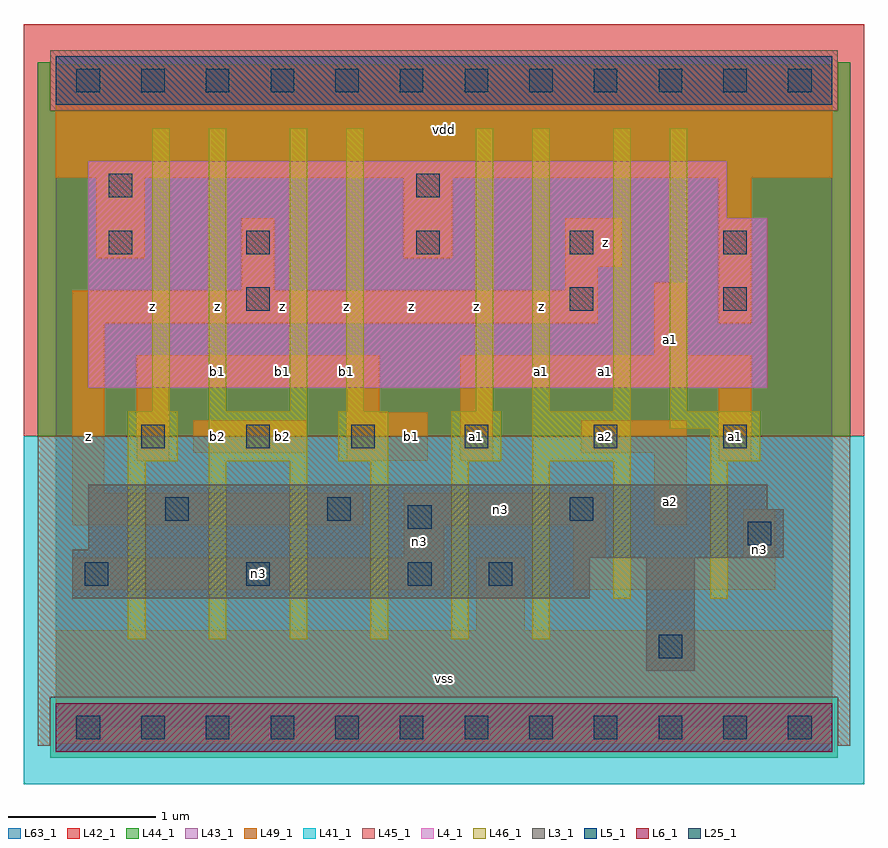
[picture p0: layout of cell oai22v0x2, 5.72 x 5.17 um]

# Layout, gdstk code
import gdstk
lib = gdstk.Library(unit=1e-6, precision=1e-09)
def R(c, l, rs):  # rectangles x0, y0, x1, y1
    for r in rs: c.add(gdstk.rectangle(r[:2], r[2:], *l))
def A(c, l, x, y, w, h, nx, ny, dx, dy):  # array of equal rectangles
    R(c, l, [(x+i*dx, y+j*dy, x+i*dx+w, y+j*dy+h) for i in range(nx) for j in range(ny)])
L3_1 = (3, 1)
L4_1 = (4, 1)
L5_1 = (5, 1)
L6_1 = (6, 1)
L25_1 = (25, 1)
L41_1 = (41, 1)
L42_1 = (42, 1)
L43_1 = (43, 1)
L44_1 = (44, 1)
L45_1 = (45, 1)
L46_1 = (46, 1)
L49_1 = (49, 1)
L63_1 = (63, 1)

oai22v0x2 = lib.new_cell('oai22v0x2')
R(oai22v0x2, L3_1, [(4.015,0.385,4.345,1.155), (0.11,0.88,3.63,1.155), (0.11,1.155,4.95,1.21), (0.22,1.21,4.95,1.485), (0.22,1.485,4.84,1.65)])
R(oai22v0x2, L4_1, [(0.22,2.31,4.84,3.465), (0.22,3.465,4.565,3.85)])
R(oai22v0x2, L5_1, [(0,4.235,5.28,4.565)])
R(oai22v0x2, L6_1, [(0,-0.165,5.28,0.165)])
A(oai22v0x2, L25_1, 0.14, -0.08, 0.16, 0.16, 12, 2, 0.44, 4.4)
A(oai22v0x2, L25_1, 0.195, 0.965, 0.16, 0.16, 3, 1, 1.1, 0)
A(oai22v0x2, L25_1, 0.58, 1.9, 0.16, 0.16, 3, 1, 0.715, 0)
A(oai22v0x2, L25_1, 2.78, 1.9, 0.16, 0.16, 3, 1, 0.88, 0)
A(oai22v0x2, L25_1, 2.45, 3.22, 0.16, 0.16, 3, 1, 1.045, 0)
R(oai22v0x2, L25_1, [(4.1,0.47,4.26,0.63), (2.945,0.965,3.105,1.125), (4.705,1.24,4.865,1.4), (2.395,1.35,2.555,1.51), (0.745,1.405,0.905,1.565), (1.845,1.405,2.005,1.565), (3.495,1.405,3.655,1.565), (1.295,2.835,1.455,2.995), (3.495,2.835,3.655,2.995), (4.54,2.835,4.7,2.995), (0.36,3.22,0.52,3.38), (1.295,3.22,1.455,3.38), (0.36,3.605,0.52,3.765), (2.45,3.605,2.61,3.765)])
R(oai22v0x2, L41_1, [(-0.22,-0.385,5.5,1.98)])
R(oai22v0x2, L42_1, [(-0.22,1.98,5.5,4.785)])
R(oai22v0x2, L43_1, [(0,-0.165,5.28,0.165), (4.015,0.385,4.345,1.155), (0.11,0.88,3.63,1.155), (0.11,1.155,4.95,1.21), (0.22,1.21,4.95,1.485), (0.22,1.485,4.84,1.65), (0.22,2.31,4.84,3.465), (0.22,3.465,4.565,3.85), (0,4.235,5.28,4.565)])
R(oai22v0x2, L44_1, [(-0.04,-0.205,5.32,0.205), (-0.125,1.98,5.405,4.195), (-0.125,4.195,-0.04,4.525), (5.32,4.195,5.405,4.525)])
R(oai22v0x2, L45_1, [(-0.125,-0.125,-0.04,0.205), (5.32,-0.125,5.405,0.205), (-0.125,0.205,5.405,1.98), (-0.04,4.195,5.32,4.605)])
A(oai22v0x2, L46_1, 0.49, 0.6, 0.12, 1.21, 6, 1, 0.55, 0)
R(oai22v0x2, L46_1, [(3.79,0.875,3.91,1.81), (4.45,0.875,4.57,1.81), (0.49,1.81,0.83,2.15), (1.04,1.81,1.71,2.15), (1.92,1.81,2.26,2.15), (2.69,1.81,3.03,2.15), (3.24,1.81,3.91,2.15), (4.45,1.81,4.79,2.03), (4.175,2.03,4.79,2.15), (0.655,2.15,0.775,4.075), (1.04,2.15,1.16,4.075), (1.59,2.15,1.71,4.075), (1.975,2.15,2.095,4.075), (2.855,2.15,2.975,4.075), (3.24,2.15,3.36,4.075), (3.79,2.15,3.91,4.075), (4.175,2.15,4.295,4.075)])
R(oai22v0x2, L49_1, [(0,-0.11,5.28,0.66), (2.86,0.66,3.19,1.155), (0.11,0.935,2.64,1.155), (3.52,0.935,4.895,1.155), (2.365,1.155,2.64,1.375), (3.52,1.155,3.74,1.375), (4.675,1.155,4.895,1.485), (0.11,1.375,2.09,1.595), (2.365,1.375,3.74,1.595), (4.07,1.375,4.29,1.87), (0.11,1.595,0.33,2.75), (0.55,1.815,0.77,2.31), (1.98,1.815,2.53,2.145), (2.75,1.815,2.97,2.31), (4.51,1.815,4.73,2.31), (0.935,1.87,1.705,2.09), (3.575,1.87,4.29,2.09), (1.98,2.145,2.2,2.31), (0.55,2.31,2.2,2.53), (2.75,2.31,4.73,2.53), (4.07,2.53,4.29,3.025), (0.11,2.75,3.685,2.97), (4.51,2.75,4.73,3.74), (1.265,2.97,1.485,3.465), (3.465,2.97,3.685,3.135), (3.465,3.135,3.85,3.465), (0.275,3.19,0.605,3.74), (2.365,3.19,2.695,3.74), (0,3.74,5.28,4.51)])
R(oai22v0x2, L63_1, [(0,0,5.28,4.4)])
oai22v0x2.add(gdstk.Label('z', (0.22,1.98), layer=49, texttype=1))
oai22v0x2.add(gdstk.Label('z', (0.66,2.86), layer=49, texttype=1))
oai22v0x2.add(gdstk.Label('b2', (1.1,1.98), layer=49, texttype=1))
oai22v0x2.add(gdstk.Label('b1', (1.1,2.42), layer=49, texttype=1))
oai22v0x2.add(gdstk.Label('b2', (1.54,1.98), layer=49, texttype=1))
oai22v0x2.add(gdstk.Label('b1', (1.54,2.42), layer=49, texttype=1))
oai22v0x2.add(gdstk.Label('z', (1.54,2.86), layer=49, texttype=1))
oai22v0x2.add(gdstk.Label('z', (1.1,2.86), layer=49, texttype=1))
oai22v0x2.add(gdstk.Label('vss', (2.64,0.33), layer=49, texttype=1))
oai22v0x2.add(gdstk.Label('n3', (1.375,1.045), layer=49, texttype=1))
oai22v0x2.add(gdstk.Label('n3', (2.475,1.265), layer=49, texttype=1))
oai22v0x2.add(gdstk.Label('b1', (1.98,2.42), layer=49, texttype=1))
oai22v0x2.add(gdstk.Label('b1', (2.42,1.98), layer=49, texttype=1))
oai22v0x2.add(gdstk.Label('a1', (2.86,1.98), layer=49, texttype=1))
oai22v0x2.add(gdstk.Label('z', (2.42,2.86), layer=49, texttype=1))
oai22v0x2.add(gdstk.Label('z', (2.86,2.86), layer=49, texttype=1))
oai22v0x2.add(gdstk.Label('z', (1.98,2.86), layer=49, texttype=1))
oai22v0x2.add(gdstk.Label('vdd', (2.64,4.07), layer=49, texttype=1))
oai22v0x2.add(gdstk.Label('n3', (3.025,1.485), layer=49, texttype=1))
oai22v0x2.add(gdstk.Label('a2', (4.18,1.54), layer=49, texttype=1))
oai22v0x2.add(gdstk.Label('a1', (3.3,2.42), layer=49, texttype=1))
oai22v0x2.add(gdstk.Label('a2', (3.74,1.98), layer=49, texttype=1))
oai22v0x2.add(gdstk.Label('a1', (3.74,2.42), layer=49, texttype=1))
oai22v0x2.add(gdstk.Label('a1', (4.18,2.64), layer=49, texttype=1))
oai22v0x2.add(gdstk.Label('z', (3.3,2.86), layer=49, texttype=1))
oai22v0x2.add(gdstk.Label('z', (3.74,3.3), layer=49, texttype=1))
oai22v0x2.add(gdstk.Label('n3', (4.785,1.21), layer=49, texttype=1))
oai22v0x2.add(gdstk.Label('a1', (4.62,1.98), layer=49, texttype=1))

lib.write_gds('oai22v0x2.gds')
